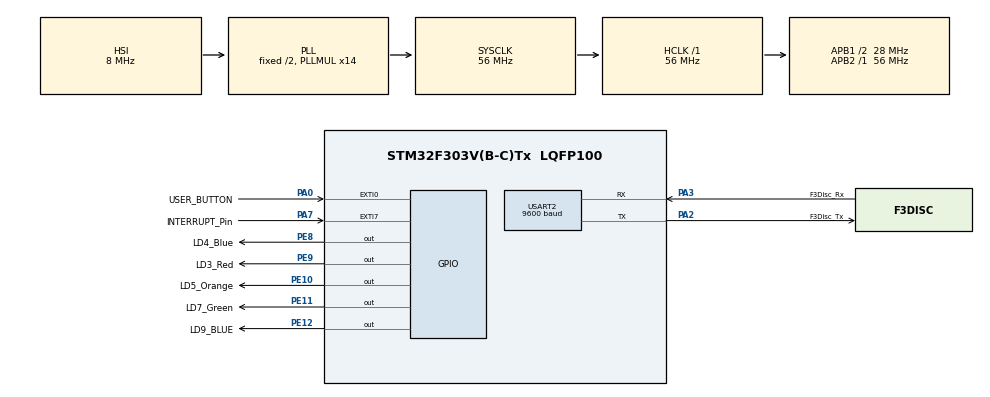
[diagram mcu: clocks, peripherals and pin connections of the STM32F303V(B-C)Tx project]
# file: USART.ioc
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Mcu.Family=STM32F3
Mcu.Name=STM32F303V(B-C)Tx
Mcu.Package=LQFP100
NVIC.EXTI9_5_IRQn=true\:0\:0\:false\:false\:true\:true
NVIC.PriorityGroup=NVIC_PRIORITYGROUP_4
NVIC.USART2_IRQn=true\:0\:0\:false\:false\:true\:true
PA0.GPIO_Label=USER_BUTTON
PA0.GPIO_PuPd=GPIO_PULLDOWN
PA0.Signal=GPXTI0
PA2.GPIO_Label=F3Disc_Tx
PA2.Mode=Asynchronous
PA2.Signal=USART2_TX
PA3.GPIO_Label=F3Disc_Rx
PA3.Mode=Asynchronous
PA3.Signal=USART2_RX
PA7.GPIO_Label=INTERRUPT_Pin
PA7.GPIO_PuPd=GPIO_PULLDOWN
PA7.Signal=GPXTI7
PE10.GPIO_Label=LD5_Orange
PE10.GPIO_PuPd=GPIO_PULLDOWN
PE10.Signal=GPIO_Output
PE11.GPIO_Label=LD7_Green
PE11.GPIO_PuPd=GPIO_PULLDOWN
PE11.Signal=GPIO_Output
PE12.GPIO_Label=LD9_BLUE
PE12.GPIO_PuPd=GPIO_PULLDOWN
PE12.Signal=GPIO_Output
PE8.GPIO_Label=LD4_Blue
PE8.GPIO_PuPd=GPIO_PULLDOWN
PE8.Signal=GPIO_Output
PE9.GPIO_Label=LD3_Red
PE9.GPIO_PuPd=GPIO_PULLDOWN
PE9.Signal=GPIO_Output
ProjectManager.HeapSize=0x200
ProjectManager.StackSize=0x400
ProjectManager.TargetToolchain=Makefile
RCC.AHBFreq_Value=56000000
RCC.APB1CLKDivider=RCC_HCLK_DIV2
RCC.APB1Freq_Value=28000000
RCC.APB1TimFreq_Value=56000000
RCC.APB2Freq_Value=56000000
RCC.APB2TimFreq_Value=56000000
RCC.CortexFreq_Value=56000000
RCC.HCLKFreq_Value=56000000
RCC.HSE_VALUE=8000000
RCC.HSI_VALUE=8000000
RCC.LSE_VALUE=32768
RCC.PLLMUL=RCC_PLL_MUL14
RCC.SYSCLKFreq_VALUE=56000000
RCC.SYSCLKSourceVirtual=RCC_SYSCLKSOURCE_PLLCLK
RCC.USBFreq_Value=56000000
USART2.BaudRate=9600
USART2.VirtualMode-Asynchronous=VM_ASYNC
board=USART

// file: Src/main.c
/**
  ******************************************************************************
  * File Name          : main.c
  * Description        : Main program body
  ******************************************************************************
  ** This notice applies to any and all portions of this file
  * that are not between comment pairs USER CODE BEGIN and
  * USER CODE END. Other portions of this file, whether
  * inserted by the user or by software development tools
  * are owned by their respective copyright owners.
  *
  * COPYRIGHT(c) 2017 STMicroelectronics
  *
  * Redistribution and use in source and binary forms, with or without modification,
  * are permitted provided that the following conditions are met:
  *   1. Redistributions of source code must retain the above copyright notice,
  *      this list of conditions and the following disclaimer.
  *   2. Redistributions in binary form must reproduce the above copyright notice,
  *      this list of conditions and the following disclaimer in the documentation
  *      and/or other materials provided with the distribution.
  *   3. Neither the name of STMicroelectronics nor the names of its contributors
  *      may be used to endorse or promote products derived from this software
  *      without specific prior written permission.
  *
  * THIS SOFTWARE IS PROVIDED BY THE COPYRIGHT HOLDERS AND CONTRIBUTORS "AS IS"
  * AND ANY EXPRESS OR IMPLIED WARRANTIES, INCLUDING, BUT NOT LIMITED TO, THE
  * IMPLIED WARRANTIES OF MERCHANTABILITY AND FITNESS FOR A PARTICULAR PURPOSE ARE
  * DISCLAIMED. IN NO EVENT SHALL THE COPYRIGHT HOLDER OR CONTRIBUTORS BE LIABLE
  * FOR ANY DIRECT, INDIRECT, INCIDENTAL, SPECIAL, EXEMPLARY, OR CONSEQUENTIAL
  * DAMAGES (INCLUDING, BUT NOT LIMITED TO, PROCUREMENT OF SUBSTITUTE GOODS OR
  * SERVICES; LOSS OF USE, DATA, OR PROFITS; OR BUSINESS INTERRUPTION) HOWEVER
  * CAUSED AND ON ANY THEORY OF LIABILITY, WHETHER IN CONTRACT, STRICT LIABILITY,
  * OR TORT (INCLUDING NEGLIGENCE OR OTHERWISE) ARISING IN ANY WAY OUT OF THE USE
  * OF THIS SOFTWARE, EVEN IF ADVISED OF THE POSSIBILITY OF SUCH DAMAGE.
  *
  ******************************************************************************
  */

#include "main.h"
#include "stm32f3xx_hal.h"

UART_HandleTypeDef huart2;

/* USER CODE BEGIN PV */
/* Private variables ---------------------------------------------------------*/
__IO ITStatus UartReady = RESET;
__IO uint32_t Interrupt_Variable = 0;
/* Buffer used for transmission */
/* uint8_t aTxBuffer[] = " ****UART_TwoBoards communication based on DMA****  ****UART_TwoBoards communication based on DMA****  ****UART_TwoBoards communication based on DMA**** "; */
uint8_t aTxBuffer[] = "R";
/* Buffer used for reception */
uint8_t aRxBuffer[RXBUFFERSIZE];
/* USER CODE END PV */

void SystemClock_Config(void);
static void MX_GPIO_Init(void);
static void MX_USART2_UART_Init(void);

/* USER CODE BEGIN PFP */
/* Private function prototypes -----------------------------------------------*/
static uint16_t Buffercmp(uint8_t* pBuffer1, uint8_t* pBuffer2, uint16_t BufferLength);
/* USER CODE END PFP */

int main(void)
{

  /* MCU Configuration----------------------------------------------------------*/

  /* Reset of all peripherals, Initializes the Flash interface and the Systick. */
  HAL_Init();

  /* Configure the system clock */
  SystemClock_Config();

  /* Initialize all configured peripherals */
  MX_GPIO_Init();
  MX_USART2_UART_Init();

  /* USER CODE BEGIN 2 */
  while (HAL_GPIO_ReadPin(INTERRUPT_Pin_GPIO_Port, INTERRUPT_Pin_Pin) == GPIO_PIN_RESET)
    {
      HAL_GPIO_TogglePin(LD4_Blue_GPIO_Port, LD4_Blue_Pin);
      HAL_Delay(250);
    }

  while (Interrupt_Variable == 0)
    {
    }

  if(HAL_UART_Receive_DMA(&huart2, (uint8_t *)aRxBuffer, RXBUFFERSIZE) != HAL_OK)
    {
      _Error_Handler(__FILE__,__LINE__);
    }

  HAL_GPIO_WritePin(LD9_BLUE_GPIO_Port, LD9_BLUE_Pin, GPIO_PIN_SET);
  while (UartReady != SET)
    {
    }

  UartReady = RESET;

  if(Buffercmp( (uint8_t*)aTxBuffer, (uint8_t*)aRxBuffer, RXBUFFERSIZE))
    {
      _Error_Handler(__FILE__,__LINE__);
    }

  /* USER CODE END 2 */

  /* Infinite loop */
  while (1)
    {

    }

}

/** System Clock Configuration
*/
void SystemClock_Config(void)
{

  RCC_OscInitTypeDef RCC_OscInitStruct;
  RCC_ClkInitTypeDef RCC_ClkInitStruct;
  RCC_PeriphCLKInitTypeDef PeriphClkInit;

    /**Initializes the CPU, AHB and APB busses clocks
    */
  RCC_OscInitStruct.OscillatorType = RCC_OSCILLATORTYPE_HSI;
  RCC_OscInitStruct.HSIState = RCC_HSI_ON;
  RCC_OscInitStruct.HSICalibrationValue = 16;
  RCC_OscInitStruct.PLL.PLLState = RCC_PLL_ON;
  RCC_OscInitStruct.PLL.PLLSource = RCC_PLLSOURCE_HSI;
  RCC_OscInitStruct.PLL.PLLMUL = RCC_PLL_MUL14;
  if (HAL_RCC_OscConfig(&RCC_OscInitStruct) != HAL_OK)
  {
    _Error_Handler(__FILE__, __LINE__);
  }

    /**Initializes the CPU, AHB and APB busses clocks
    */
  RCC_ClkInitStruct.ClockType = RCC_CLOCKTYPE_HCLK|RCC_CLOCKTYPE_SYSCLK
                              |RCC_CLOCKTYPE_PCLK1|RCC_CLOCKTYPE_PCLK2;
  RCC_ClkInitStruct.SYSCLKSource = RCC_SYSCLKSOURCE_PLLCLK;
  RCC_ClkInitStruct.AHBCLKDivider = RCC_SYSCLK_DIV1;
  RCC_ClkInitStruct.APB1CLKDivider = RCC_HCLK_DIV2;
  RCC_ClkInitStruct.APB2CLKDivider = RCC_HCLK_DIV1;

  if (HAL_RCC_ClockConfig(&RCC_ClkInitStruct, FLASH_LATENCY_2) != HAL_OK)
  {
    _Error_Handler(__FILE__, __LINE__);
  }

  PeriphClkInit.PeriphClockSelection = RCC_PERIPHCLK_USART2;
  PeriphClkInit.Usart2ClockSelection = RCC_USART2CLKSOURCE_PCLK1;
  if (HAL_RCCEx_PeriphCLKConfig(&PeriphClkInit) != HAL_OK)
  {
    _Error_Handler(__FILE__, __LINE__);
  }

    /**Configure the Systick interrupt time
    */
  HAL_SYSTICK_Config(HAL_RCC_GetHCLKFreq()/1000);

    /**Configure the Systick
    */
  HAL_SYSTICK_CLKSourceConfig(SYSTICK_CLKSOURCE_HCLK);

  /* SysTick_IRQn interrupt configuration */
  HAL_NVIC_SetPriority(SysTick_IRQn, 0, 0);
}

/* USART2 init function */
static void MX_USART2_UART_Init(void)
{

  huart2.Instance = USART2;
  huart2.Init.BaudRate = 9600;
  huart2.Init.WordLength = UART_WORDLENGTH_8B;
  huart2.Init.StopBits = UART_STOPBITS_1;
  huart2.Init.Parity = UART_PARITY_NONE;
  huart2.Init.Mode = UART_MODE_TX_RX;
  huart2.Init.HwFlowCtl = UART_HWCONTROL_NONE;
  huart2.Init.OverSampling = UART_OVERSAMPLING_16;
  huart2.Init.OneBitSampling = UART_ONE_BIT_SAMPLE_DISABLE;
  huart2.AdvancedInit.AdvFeatureInit = UART_ADVFEATURE_NO_INIT;
  if (HAL_UART_Init(&huart2) != HAL_OK)
  {
    _Error_Handler(__FILE__, __LINE__);
  }

}

/** Configure pins as
        * Analog
        * Input
        * Output
        * EVENT_OUT
        * EXTI
*/
static void MX_GPIO_Init(void)
{

  GPIO_InitTypeDef GPIO_InitStruct;

  /* GPIO Ports Clock Enable */
  __HAL_RCC_GPIOA_CLK_ENABLE();
  __HAL_RCC_GPIOE_CLK_ENABLE();

  /*Configure GPIO pin Output Level */
  HAL_GPIO_WritePin(GPIOE, LD4_Blue_Pin|LD3_Red_Pin|LD5_Orange_Pin|LD7_Green_Pin
                          |LD9_BLUE_Pin, GPIO_PIN_RESET);

  /*Configure GPIO pins : USER_BUTTON_Pin INTERRUPT_Pin_Pin */
  GPIO_InitStruct.Pin = USER_BUTTON_Pin|INTERRUPT_Pin_Pin;
  GPIO_InitStruct.Mode = GPIO_MODE_IT_RISING;
  GPIO_InitStruct.Pull = GPIO_PULLDOWN;
  HAL_GPIO_Init(GPIOA, &GPIO_InitStruct);

  /*Configure GPIO pins : LD4_Blue_Pin LD3_Red_Pin LD5_Orange_Pin LD7_Green_Pin
                           LD9_BLUE_Pin */
  GPIO_InitStruct.Pin = LD4_Blue_Pin|LD3_Red_Pin|LD5_Orange_Pin|LD7_Green_Pin
                          |LD9_BLUE_Pin;
  GPIO_InitStruct.Mode = GPIO_MODE_OUTPUT_PP;
  GPIO_InitStruct.Pull = GPIO_PULLDOWN;
  GPIO_InitStruct.Speed = GPIO_SPEED_FREQ_LOW;
  HAL_GPIO_Init(GPIOE, &GPIO_InitStruct);

  /* EXTI interrupt init*/
  HAL_NVIC_SetPriority(EXTI9_5_IRQn, 0, 0);
  HAL_NVIC_EnableIRQ(EXTI9_5_IRQn);

}

/* USER CODE BEGIN 4 */
/* Rx Transfer completed callback */
void HAL_UART_RxCpltCallback(UART_HandleTypeDef *huart2)
{
  UartReady = SET;

  HAL_GPIO_WritePin(LD7_Green_GPIO_Port, LD7_Green_Pin, GPIO_PIN_SET);
}

/* UART error callbacks */
void HAL_UART_ErrorCallback(UART_HandleTypeDef *huart2)
{
  HAL_GPIO_WritePin(LD3_Red_GPIO_Port, LD3_Red_Pin, GPIO_PIN_SET);
}

/* Compare two buffers */
static uint16_t Buffercmp(uint8_t* pBuffer1, uint8_t* pBuffer2, uint16_t BufferLength)
{
  while (BufferLength--)
    {
      if ((*pBuffer1 != *pBuffer2))
	{
	  return BufferLength;
	}
	pBuffer1++;
	pBuffer2++;

    }

    return 0;

}

/* USER CODE END 4 */

void _Error_Handler(char * file, int line)
{
  /* USER CODE BEGIN Error_Handler_Debug */
  /* User can add his own implementation to report the HAL error return state */
  HAL_GPIO_WritePin(LD5_Orange_GPIO_Port, LD5_Orange_Pin, GPIO_PIN_SET);
  while(1)
  {
  }
  /* USER CODE END Error_Handler_Debug */
}

#ifdef USE_FULL_ASSERT

/**
   * @brief Reports the name of the source file and the source line number
   * where the assert_param error has occurred.
   * @param file: pointer to the source file name
   * @param line: assert_param error line source number
   * @retval None
   */
void assert_failed(uint8_t* file, uint32_t line)
{
  /* USER CODE BEGIN 6 */
  HAL_GPIO_WritePin(LD9_BLUE_GPIO_Port, LD9_BLUE_Pin, GPIO_PIN_SET);
  /* User can add his own implementation to report the file name and line number,
    ex: printf("Wrong parameters value: file %s on line %d\r\n", file, line) */
  /* USER CODE END 6 */

}

#endif

/************************ (C) COPYRIGHT STMicroelectronics *****END OF FILE****/
